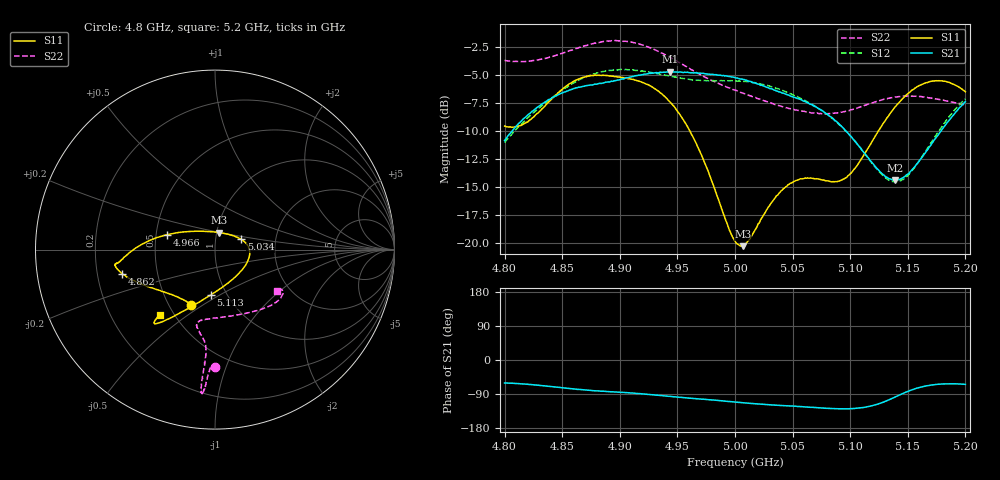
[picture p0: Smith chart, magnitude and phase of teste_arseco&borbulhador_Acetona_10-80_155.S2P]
! Network Analyzer HP8722D
! Hewlett-Packard
! Data name: Linha & Wilkinson
! Saver's name: Rodrigo Anjos
! Comments: Teste da utilização de aquisição
! continua pelo VNA HP8722D
! Time and date: 17/4/2025 15:39
!  Frequency  S11  S21  S12  S22
# HZ  S  MA R 50
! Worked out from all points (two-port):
!   401 points, 4.8 GHz to 5.2 GHz, reference 50 ohm
!   highest |S21| = -4.67 dB at 4.944 GHz (marker M1); lowest = -14.4 dB at 5.139 GHz (marker M2)
!   |S21| within 3 dB of the highest: 4.831 GHz to 5.067 GHz (236.6 MHz wide, 4.78 % of centre); 5.197082 GHz to end of sweep
!   lowest |S11| = -20.3 dB at 5.007 GHz (marker M3), VSWR 1.21, Z = 51.2 + j9.75 ohm
!   |S11| at or under -10 dB: 4.961 GHz to 5.124 GHz (163.4 MHz wide, 3.24 % of centre)
!   |S22| runs from -8.5 to -1.9 dB; largest |S21 - S12| = 0.88
!   S11 on the Smith chart (normalised r, x): 4.8 GHz: 0.65, -0.45; 4.862 GHz: 0.31, -0.11; 4.966 GHz: 0.57, +0.10; 5.034 GHz: 1.33, +0.16; 5.113 GHz: 0.84, -0.45; 5.2 GHz: 0.42, -0.39
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4.8e9  0.3333 -113.3  0.2874 -60.6  0.2813 -175.0  0.6564 -90.0
4.819e9  0.3465 -133.1  0.3689 -63.9  0.3575 -173.5  0.6501 -91.6
4.84e9  0.4358 -152.6  0.4416 -69.8  0.4438 -173.8  0.6805 -92.8
4.862e9  0.5357 -165.6  0.4952 -77.0  0.528 -176.7  0.7424 -93.8
4.867e9  0.5481 -167.6  0.5004 -78.5  0.5436 -177.6  0.7565 -93.9
4.9e9  0.5526 -172.0  0.5384 -85.1  0.5968 175.8  0.8027 -95.3
4.934e9  0.476 -178.1  0.5788 -93.5  0.5723 171.9  0.7171 -95.7
4.944e9  0.4255 177.4  0.5839 -96.1  0.5574 172.0  0.6761 -95.4
4.966e9  0.2809 163.0  0.5771 -101.9  0.536 173.9  0.5811 -94.9
5e9  0.1019 102.1  0.5492 -111.0  0.5312 176.2  0.4831 -99.1
5.007e9  0.09666 77.7  0.5393 -112.8  0.5281 176.1  0.468 -100.7
5.034e9  0.1574 21.2  0.4833 -119.1  0.497 175.1  0.4174 -103.5
5.05e9  0.1867 4.7  0.4512 -121.8  0.461 174.2  0.3976 -99.5
5.067e9  0.1946 -13.5  0.4157 -124.8  0.417 173.8  0.381 -90.7
5.093e9  0.1917 -57.6  0.3302 -128.8  0.3292 174.1  0.3848 -70.7
5.113e9  0.253 -95.0  0.2502 -124.5  0.2496 179.8  0.4136 -55.0
5.134e9  0.3752 -116.2  0.1937 -104.6  0.1905 -157.6  0.4447 -42.9
5.139e9  0.406 -119.2  0.1905 -97.7  0.1877 -149.6  0.45 -40.7
5.151e9  0.47 -124.3  0.205 -81.5  0.2031 -131.1  0.4547 -36.3
5.17e9  0.5287 -128.7  0.2739 -66.2  0.2796 -112.5  0.4454 -31.8
5.184e9  0.5258 -130.0  0.3447 -63.0  0.3562 -107.2  0.4317 -30.9
5.2e9  0.475 -130.4  0.4287 -64.3  0.4416 -106.4  0.4154 -33.3
